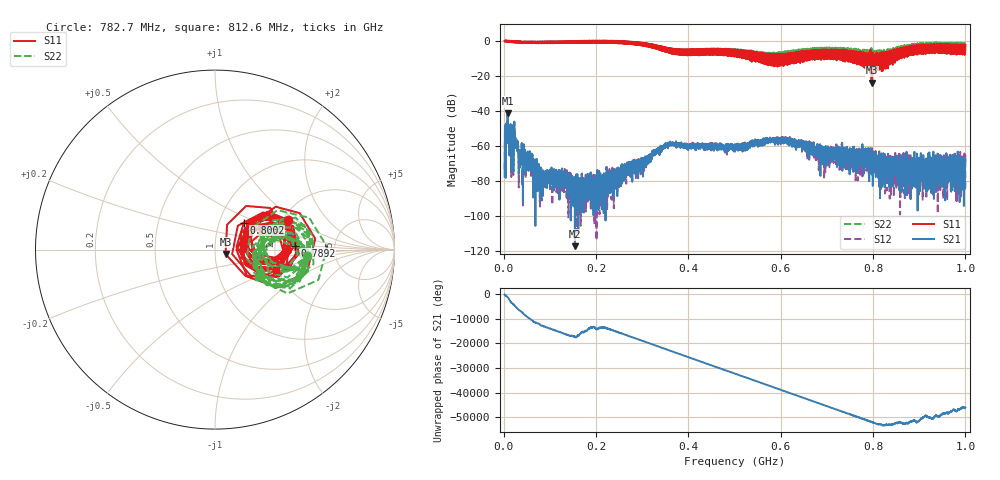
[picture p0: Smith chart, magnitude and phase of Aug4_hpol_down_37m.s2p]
!Keysight Technologies N9923A: A.12.45
!Date: Tuesday, 05 August 2025 18:54:52
!Timezone: (UTC+08:00) Kuala Lumpur, Singapore
!Model: N9923A
!Serial: MY61181427
!GPS Latitude:
!GPS Longitude:
!GPS TimeStamp: 0001-01-01 00:00:00Z
!GPS Seconds Since Last Read: 0
!CHECKSUM:0049930075
!Correction: S11(ON U)S21(ON U)S12(ON U)S22(ON U)
!S2P File: Measurements:S11,S21,S12,S22:
# Hz S DB R 50
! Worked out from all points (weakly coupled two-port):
!   4001 points, 2 MHz to 1 GHz, reference 50 ohm
!   highest |S21| = -41.49 dB at 8.487 MHz (marker M1); lowest = -117.2 dB at 154.2 MHz (marker M2)
!   lowest |S11| = -23.9 dB at 796.9 MHz (marker M3), VSWR 1.14, Z = 56.2 - j2.79 ohm
!   |S11| at or under -10 dB: 575.8208 MHz to 576.6086 MHz (787.8 kHz wide, 0.137 % of centre); 582.5699 MHz to 583.3703 MHz (800.4 kHz wide, 0.137 % of centre); 596.0428 MHz to 596.8858 MHz (843.1 kHz wide, 0.141 % of centre)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
!   |S22| runs from -14.7 to 0.2 dB; largest |S21 - S12| = 0.0011
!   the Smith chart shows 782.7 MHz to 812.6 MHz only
!   S11 on the Smith chart (normalised r, x): 782.7 MHz: 2.12, +0.87; 789.2 MHz: 2.60, +0.14; 800.2 MHz: 1.31, +0.41; 812.6 MHz: 1.95, -0.51
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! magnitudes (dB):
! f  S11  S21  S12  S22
! 2 MHz  -0.1  -77.5  -73.4  -0.1
! 8.487 MHz  0.0  -41.5  -41.5  -0.2
! 22.71 MHz  -0.9  -46.5  -46.3  -0.8
! 36.93 MHz  -0.5  -62.6  -62.6  -0.5
! 57.89 MHz  -1.2  -67.0  -66.6  -1.2
! 82.84 MHz  -1.4  -83.4  -84.0  -1.3
! 154.2 MHz  -0.2  -117.2  -87.6  -0.1
! 168.4 MHz  -1.2  -96.7  -76.2  -1.0
! 243 MHz  -0.2  -73.6  -78.1  -0.2
! 334.8 MHz  -3.8  -62.9  -61.5  -4.6
! 363.3 MHz  -5.4  -59.3  -58.8  -6.3
! 501 MHz  -5.8  -59.0  -58.9  -6.6
! 605.8 MHz  -7.4  -57.0  -55.5  -6.9
! 667.4 MHz  -9.0  -61.8  -58.0  -8.6
! 782.7 MHz  -7.2  -66.2  -64.7  -5.7
! 789.2 MHz  -7.0  -72.3  -63.8  -8.4
! 796.9 MHz  -23.9  -76.2  -65.7  -7.7
! 800.2 MHz  -13.1  -64.6  -63.1  -6.7
! 812.6 MHz  -8.9  -66.9  -70.3  -11.0
! 833.8 MHz  -10.0  -66.5  -80.3  -5.5
! 986.8 MHz  -3.3  -77.4  -68.1  -1.2
! 1 GHz  -2.4  -68.5  -84.4  -2.5
